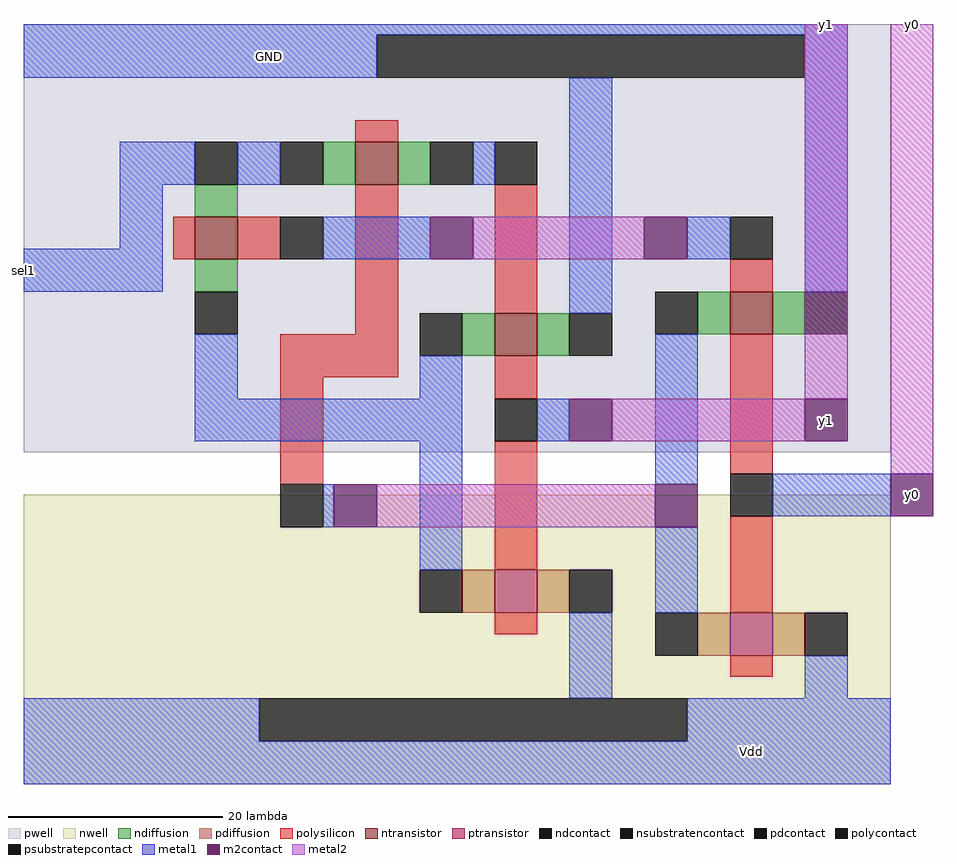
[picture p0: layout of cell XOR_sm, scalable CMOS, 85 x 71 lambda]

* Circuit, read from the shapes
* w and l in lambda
.subckt XOR_sm GND Vdd sel1 y0 y1
M1 sel1 y0 n1 GND nfet w=4 l=4
M2 y1 n2 sel1 GND nfet w=4 l=4
M3 GND y1 n1 GND nfet w=4 l=4
M4 GND y0 n2 GND nfet w=4 l=4
M5 Vdd y1 n1 Vdd pfet w=4 l=4
M6 Vdd y0 n2 Vdd pfet w=4 l=4
.ends

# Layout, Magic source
magic
tech scmos
<< pwell >>
rect -20 -16 61 24
<< nwell >>
rect -20 -47 61 -20
<< polysilicon >>
rect 11 13 15 15
rect -6 2 -4 6
rect 0 2 4 6
rect 11 -5 15 9
rect 24 -3 28 9
rect 46 -1 50 2
rect 4 -9 15 -5
rect 4 -19 8 -9
rect 24 -11 28 -7
rect 24 -27 28 -15
rect 46 -18 50 -5
rect 46 -31 50 -22
rect 24 -33 28 -31
rect 46 -37 50 -35
<< ndiffusion >>
rect 8 9 11 13
rect 15 9 18 13
rect -4 6 0 9
rect -4 -1 0 2
rect 21 -7 24 -3
rect 28 -7 31 -3
rect 43 -5 46 -1
rect 50 -5 53 -1
<< pdiffusion >>
rect 21 -31 24 -27
rect 28 -31 31 -27
rect 43 -35 46 -31
rect 50 -35 53 -31
<< metal1 >>
rect -20 23 57 24
rect -20 19 13 23
rect -11 9 -4 13
rect 0 9 4 13
rect 22 9 24 13
rect -11 3 -7 9
rect -20 -1 -7 3
rect 8 2 18 6
rect 31 -3 35 19
rect 42 2 46 6
rect 53 -1 57 23
rect -4 -11 0 -5
rect 17 -11 21 -7
rect -4 -15 21 -11
rect 28 -15 31 -11
rect 8 -23 9 -19
rect 17 -27 21 -15
rect 39 -19 43 -5
rect 50 -22 61 -18
rect 31 -39 35 -31
rect 39 -31 43 -23
rect 53 -39 57 -35
rect -20 -43 2 -39
rect 42 -43 61 -39
rect -20 -47 61 -43
<< metal2 >>
rect 22 2 38 6
rect 53 -11 57 24
rect 35 -15 53 -11
rect 61 -18 65 24
rect 13 -23 39 -19
<< ntransistor >>
rect 11 9 15 13
rect -4 2 0 6
rect 24 -7 28 -3
rect 46 -5 50 -1
<< ptransistor >>
rect 24 -31 28 -27
rect 46 -35 50 -31
<< polycontact >>
rect 24 9 28 13
rect 4 2 8 6
rect 46 2 50 6
rect 4 -23 8 -19
rect 24 -15 28 -11
rect 46 -22 50 -18
<< ndcontact >>
rect -4 9 0 13
rect 4 9 8 13
rect 18 9 22 13
rect -4 -5 0 -1
rect 17 -7 21 -3
rect 31 -7 35 -3
rect 39 -5 43 -1
rect 53 -5 57 -1
<< pdcontact >>
rect 17 -31 21 -27
rect 31 -31 35 -27
rect 39 -35 43 -31
rect 53 -35 57 -31
<< m2contact >>
rect 18 2 22 6
rect 38 2 42 6
rect 31 -15 35 -11
rect 9 -23 13 -19
rect 53 -15 57 -11
rect 39 -23 43 -19
rect 61 -22 65 -18
<< psubstratepcontact >>
rect 13 19 53 23
<< nsubstratencontact >>
rect 2 -43 42 -39
<< labels >>
rlabel metal1 48 -44 48 -44 1 Vdd
rlabel metal1 -20 -1 -20 3 7 sel1
rlabel m2contact 53 -15 57 -11 1 y1
rlabel m2contact 61 -22 65 -18 7 y0
rlabel metal2 61 24 65 24 1 y0
rlabel metal2 53 24 57 24 1 y1
rlabel metal1 3 21 3 21 5 GND
<< end >>
